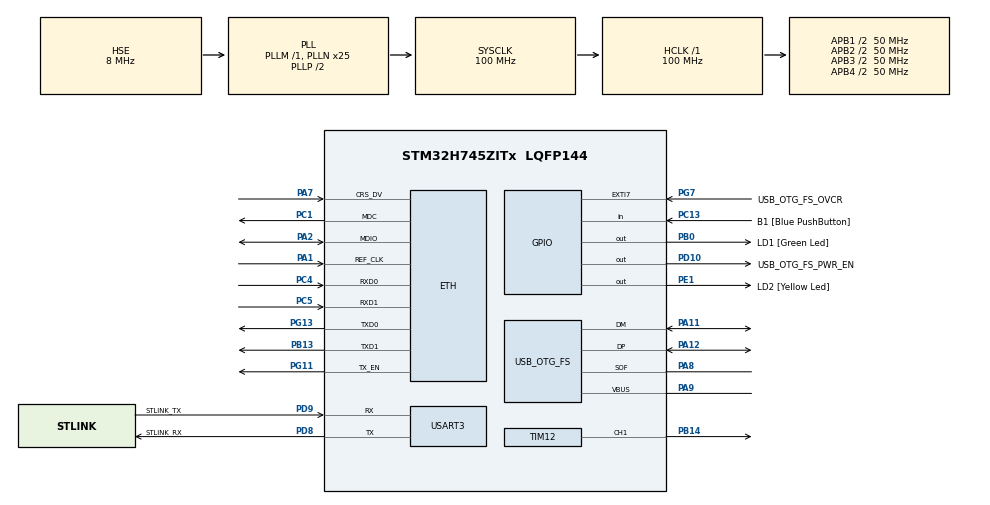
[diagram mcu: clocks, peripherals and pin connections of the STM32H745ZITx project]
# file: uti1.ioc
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CortexM4.IPs=FATFS_M4\:I,FREERTOS_M4\:I,IWDG2\:I,RCC,WWDG2\:I,DMA,BDMA,MDMA,NVIC2\:I,USART3,DEBUG,USB_DEVICE_M4\:I,USB_HOST_M4\:I,PDM2PCM_M4\:I,PWR,RESMGR_UTILITY,SYS_M4\:I,CORTEX_M4\:I,OPENAMP_M4\:I,VREFBUF,GPIO
CortexM7.IPs=FATFS_M7\:I,FREERTOS_M7\:I,IWDG1\:I,RCC\:I,WWDG1\:I,DMA\:I,BDMA\:I,MDMA\:I,NVIC1\:I,SYS\:I,USART3\:I,USB_OTG_FS\:I,CORTEX_M7\:I,DEBUG\:I,USB_DEVICE_M7\:I,USB_HOST_M7\:I,PDM2PCM_M7\:I,PWR\:I,RESMGR_UTILITY\:I,OPENAMP_M7\:I,VREFBUF\:I,GPIO\:I,TIM12\:I,ETH\:I
ETH.MediaInterface=HAL_ETH_RMII_MODE
Mcu.Family=STM32H7
Mcu.Name=STM32H745ZITx
Mcu.Package=LQFP144
NVIC1.PriorityGroup=NVIC_PRIORITYGROUP_4
NVIC2.PriorityGroup=NVIC_PRIORITYGROUP_4
PA1.Mode=RMII
PA1.PinAttribute=CortexM7
PA1.Signal=ETH_REF_CLK
PA11.Mode=Device_Only
PA11.PinAttribute=CortexM7
PA11.Signal=USB_OTG_FS_DM
PA12.Mode=Device_Only
PA12.PinAttribute=CortexM7
PA12.Signal=USB_OTG_FS_DP
PA2.Mode=RMII
PA2.PinAttribute=CortexM7
PA2.Signal=ETH_MDIO
PA7.Mode=RMII
PA7.PinAttribute=CortexM7
PA7.Signal=ETH_CRS_DV
PA8.Mode=Activate_SOF_FS
PA8.PinAttribute=CortexM7
PA8.Signal=USB_OTG_FS_SOF
PA9.Mode=Activate_VBUS
PA9.PinAttribute=CortexM7
PA9.Signal=USB_OTG_FS_VBUS
PB0.GPIO_Label=LD1 [Green Led]
PB0.PinAttribute=Free
PB0.Signal=GPIO_Output
PB13.Mode=RMII
PB13.PinAttribute=CortexM7
PB13.Signal=ETH_TXD1
PB14.PinAttribute=CortexM7
PB14.Signal=S_TIM12_CH1
PC1.Mode=RMII
PC1.PinAttribute=CortexM7
PC1.Signal=ETH_MDC
PC13.GPIO_Label=B1 [Blue PushButton]
PC13.PinAttribute=Free
PC13.Signal=GPIO_Input
PC14-OSC32_IN\ (OSC32_IN).Mode=LSE-External-Oscillator
PC14-OSC32_IN\ (OSC32_IN).PinAttribute=CortexM7
PC14-OSC32_IN\ (OSC32_IN).Signal=RCC_OSC32_IN
PC15-OSC32_OUT\ (OSC32_OUT).Mode=LSE-External-Oscillator
PC15-OSC32_OUT\ (OSC32_OUT).PinAttribute=CortexM7
PC15-OSC32_OUT\ (OSC32_OUT).Signal=RCC_OSC32_OUT
PC4.Mode=RMII
PC4.PinAttribute=CortexM7
PC4.Signal=ETH_RXD0
PC5.Mode=RMII
PC5.PinAttribute=CortexM7
PC5.Signal=ETH_RXD1
PD10.GPIO_Label=USB_OTG_FS_PWR_EN
PD10.PinAttribute=Free
PD10.Signal=GPIO_Output
PD8.GPIO_Label=STLINK_RX
PD8.Mode=Asynchronous
PD8.PinAttribute=CortexM7
PD8.Signal=USART3_TX
PD9.GPIO_Label=STLINK_TX
PD9.Mode=Asynchronous
PD9.PinAttribute=CortexM7
PD9.Signal=USART3_RX
PE1.GPIO_Label=LD2 [Yellow Led]
PE1.GPIO_PuPd=GPIO_NOPULL
PE1.PinAttribute=Free
PE1.Signal=GPIO_Output
PG11.Mode=RMII
PG11.PinAttribute=CortexM7
PG11.Signal=ETH_TX_EN
PG13.Mode=RMII
PG13.PinAttribute=CortexM7
PG13.Signal=ETH_TXD0
PG7.GPIO_Label=USB_OTG_FS_OVCR
PG7.PinAttribute=Free
PG7.Signal=GPXTI7
PH0-OSC_IN\ (PH0).Mode=HSE-External-Oscillator
PH0-OSC_IN\ (PH0).PinAttribute=CortexM7
PH0-OSC_IN\ (PH0).Signal=RCC_OSC_IN
PH1-OSC_OUT\ (PH1).Mode=HSE-External-Oscillator
PH1-OSC_OUT\ (PH1).PinAttribute=CortexM7
PH1-OSC_OUT\ (PH1).Signal=RCC_OSC_OUT
ProjectManager.HeapSize=M4-0x200,M7-0x200
ProjectManager.StackSize=M4-0x400,M7-0x400
ProjectManager.TargetToolchain=STM32CubeIDE
RCC.ADCFreq_Value=16125000
RCC.APB1Freq_Value=50000000
RCC.APB2Freq_Value=50000000
RCC.APB3Freq_Value=50000000
RCC.APB4Freq_Value=50000000
RCC.CortexFreq_Value=100000000
RCC.D1PPRE=RCC_APB3_DIV2
RCC.D2PPRE1=RCC_APB1_DIV2
RCC.D2PPRE2=RCC_APB2_DIV2
RCC.D3PPRE=RCC_APB4_DIV2
RCC.DIVM1=1
RCC.DIVM3=1
RCC.DIVN1=25
RCC.DIVN3=18
RCC.DIVQ3=3
RCC.HCLKFreq_Value=100000000
RCC.HSE_VALUE=8000000
RCC.PLL2FRACN=0
RCC.PLL3FRACN=6144
RCC.PLLFRACN=0
RCC.SYSCLKFreq_VALUE=100000000
RCC.SYSCLKSource=RCC_SYSCLKSOURCE_PLLCLK
RCC.SupplySource=PWR_DIRECT_SMPS_SUPPLY
RCC.USBCLockSelection=RCC_USBCLKSOURCE_PLL3
RCC.USBFreq_Value=50000000
SH.S_TIM12_CH1.0=TIM12_CH1,PWM Generation1 CH1
TIM12.AutoReloadPreload=TIM_AUTORELOAD_PRELOAD_DISABLE
TIM12.Channel-PWM\ Generation1\ CH1=TIM_CHANNEL_1
TIM12.Period=2-1
TIM12.Prescaler=1-1
TIM12.Pulse-PWM\ Generation1\ CH1=1
USART3.VirtualMode-Asynchronous=VM_ASYNC
USB_OTG_FS.VirtualMode=Device_Only
VP_SYS_M4_VS_Systick.Mode=SysTick
board=NUCLEO-H745ZI-Q

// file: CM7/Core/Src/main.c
/* USER CODE BEGIN Header */
/**
  ******************************************************************************
  * @file           : main.c
  * @brief          : Main program body
  ******************************************************************************
  * @attention
  *
  * Copyright (c) 2023 STMicroelectronics.
  * All rights reserved.
  *
  * This software is licensed under terms that can be found in the LICENSE file
  * in the root directory of this software component.
  * If no LICENSE file comes with this software, it is provided AS-IS.
  *
  ******************************************************************************
  */
/* USER CODE END Header */
#include "main.h"
#include "string.h"

/* USER CODE BEGIN Includes */
#include <stdio.h>
/* USER CODE END Includes */

/* USER CODE BEGIN PD */

#ifndef HSEM_ID_0
#define HSEM_ID_0 (0U) /* HW semaphore 0*/
#endif

/* USER CODE END PD */

#if defined ( __ICCARM__ ) /*!< IAR Compiler */
#pragma location=0x30000000
ETH_DMADescTypeDef  DMARxDscrTab[ETH_RX_DESC_CNT]; /* Ethernet Rx DMA Descriptors */
#pragma location=0x30000200
ETH_DMADescTypeDef  DMATxDscrTab[ETH_TX_DESC_CNT]; /* Ethernet Tx DMA Descriptors */

#elif defined ( __CC_ARM )  /* MDK ARM Compiler */

__attribute__((at(0x30000000))) ETH_DMADescTypeDef  DMARxDscrTab[ETH_RX_DESC_CNT]; /* Ethernet Rx DMA Descriptors */
__attribute__((at(0x30000200))) ETH_DMADescTypeDef  DMATxDscrTab[ETH_TX_DESC_CNT]; /* Ethernet Tx DMA Descriptors */

#elif defined ( __GNUC__ ) /* GNU Compiler */
ETH_DMADescTypeDef DMARxDscrTab[ETH_RX_DESC_CNT] __attribute__((section(".RxDecripSection"))); /* Ethernet Rx DMA Descriptors */
ETH_DMADescTypeDef DMATxDscrTab[ETH_TX_DESC_CNT] __attribute__((section(".TxDecripSection")));   /* Ethernet Tx DMA Descriptors */

#endif

ETH_TxPacketConfig TxConfig;

ETH_HandleTypeDef heth;

TIM_HandleTypeDef htim12;

UART_HandleTypeDef huart3;

PCD_HandleTypeDef hpcd_USB_OTG_FS;

void SystemClock_Config(void);
static void MX_GPIO_Init(void);
static void MX_USART3_UART_Init(void);
static void MX_USB_OTG_FS_PCD_Init(void);
static void MX_TIM12_Init(void);
static void MX_ETH_Init(void);

/* USER CODE BEGIN 0 */
volatile uint32_t timeElapsedMs = 0;
void HAL_GPIO_EXTI_Callback(uint16_t GPIO_Pin) {

    if (GPIO_Pin == GPIO_PIN_13) { // Pin PC13 (change to the actual pin)
        // Perform your desired action here upon the rising edge of the clock signal
        // For example, toggle or set/clear the state of another GPIO pin
        HAL_GPIO_TogglePin(GPIOE, GPIO_PIN_1); // Replace with your desired GPIO pin and action
    }
}
/* USER CODE END 0 */

int main(void)
{
  /* USER CODE BEGIN 1 */
	GPIO_Config();
	uint16_t timer_val;
  /* USER CODE END 1 */
/* USER CODE BEGIN Boot_Mode_Sequence_0 */
  //int32_t timeout;
/* USER CODE END Boot_Mode_Sequence_0 */

/* USER CODE BEGIN Boot_Mode_Sequence_1 */
  /* Wait until CPU2 boots and enters in stop mode or timeout*/
//  timeout = 0xFFFF;
//  while((__HAL_RCC_GET_FLAG(RCC_FLAG_D2CKRDY) != RESET) && (timeout-- > 0));
//  if ( timeout < 0 )
//  {
//  Error_Handler();
//  }
/* USER CODE END Boot_Mode_Sequence_1 */
  /* MCU Configuration--------------------------------------------------------*/

  /* Reset of all peripherals, Initializes the Flash interface and the Systick. */
  HAL_Init();

  /* USER CODE BEGIN Init */
  __HAL_RCC_GPIOC_CLK_ENABLE(); // Enable clock for GPIOF
  __HAL_RCC_GPIOE_CLK_ENABLE(); // Enable clock for GPIOF

      GPIO_InitTypeDef GPIO_InitStruct;
      GPIO_InitStruct.Pin = GPIO_PIN_13; // Pin PF6 (change to the actual pin)
      GPIO_InitStruct.Mode = GPIO_MODE_IT_FALLING; // Interrupt on rising edge
      GPIO_InitStruct.Pull = GPIO_NOPULL; // No pull-up/pull-down
      HAL_GPIO_Init(GPIOC, &GPIO_InitStruct);

  	GPIO_InitTypeDef GPIOE_init = {};
  	GPIOE_init.Pin = GPIO_PIN_1;
  	GPIOE_init.Mode = GPIO_MODE_OUTPUT_PP;
  	HAL_GPIO_Init(GPIOE, &GPIOE_init);

      HAL_NVIC_SetPriority(EXTI15_10_IRQn, 0, 0);
      HAL_NVIC_EnableIRQ(EXTI15_10_IRQn);
  /* USER CODE END Init */

  /* Configure the system clock */
  SystemClock_Config();
/* USER CODE BEGIN Boot_Mode_Sequence_2 */
/* When system initialization is finished, Cortex-M7 will release Cortex-M4 by means of
HSEM notification */
/*HW semaphore Clock enable*/
//__HAL_RCC_HSEM_CLK_ENABLE();
///*Take HSEM */
//HAL_HSEM_FastTake(HSEM_ID_0);
///*Release HSEM in order to notify the CPU2(CM4)*/
//HAL_HSEM_Release(HSEM_ID_0,0);
///* wait until CPU2 wakes up from stop mode */
//timeout = 0xFFFF;
//while((__HAL_RCC_GET_FLAG(RCC_FLAG_D2CKRDY) == RESET) && (timeout-- > 0));
//if ( timeout < 0 )
//{
//Error_Handler();
//}
/* USER CODE END Boot_Mode_Sequence_2 */

  /* Initialize all configured peripherals */
  MX_GPIO_Init();
  MX_USART3_UART_Init();
  MX_USB_OTG_FS_PCD_Init();
  MX_TIM12_Init();
  MX_ETH_Init();
  /* USER CODE BEGIN 2 */
  //HAL_TIM_Base_Start_IT(&htim16);
  HAL_TIM_PWM_Start(&htim12, TIM_CHANNEL_1);

  /* USER CODE END 2 */

  /* Infinite loop */
  while (1)
  {

    /* USER CODE BEGIN 3 */
//	  if(HAL_GPIO_ReadPin(GPIOF, GPIO_PIN_6) == GPIO_PIN_SET){
//			printf("time elapsed is: %u, clock is on %u\n", (HAL_GetTick() - timeElapsedMs), HAL_GPIO_ReadPin(GPIOF, GPIO_PIN_6));
//			timeElapsedMs = HAL_GetTick();
//	  }
	  //HAL_Delay(100000);
      // Read the counter value of TIM16
//      uint32_t counterValue = TIM16->CNT;
//      GPIO_PinState P = HAL_GPIO_ReadPin(GPIOF, GPIO_PIN_6);
//
//      // Print the counter value to the console or use it as needed
//      printf("TIM16 Counter Value: %u\n", counterValue);
//
//      // Add a delay if needed between counter readings
//      HAL_Delay(1000); // 1-second delay (adjust as needed)
  }
  /* USER CODE END 3 */
}

void SystemClock_Config(void)
{
  RCC_OscInitTypeDef RCC_OscInitStruct = {0};
  RCC_ClkInitTypeDef RCC_ClkInitStruct = {0};

  /** Supply configuration update enable
  */
  HAL_PWREx_ConfigSupply(PWR_DIRECT_SMPS_SUPPLY);

  /** Configure the main internal regulator output voltage
  */
  __HAL_PWR_VOLTAGESCALING_CONFIG(PWR_REGULATOR_VOLTAGE_SCALE3);

  while(!__HAL_PWR_GET_FLAG(PWR_FLAG_VOSRDY)) {}

  /** Initializes the RCC Oscillators according to the specified parameters
  * in the RCC_OscInitTypeDef structure.
  */
  RCC_OscInitStruct.OscillatorType = RCC_OSCILLATORTYPE_HSE;
  RCC_OscInitStruct.HSEState = RCC_HSE_ON;
  RCC_OscInitStruct.PLL.PLLState = RCC_PLL_ON;
  RCC_OscInitStruct.PLL.PLLSource = RCC_PLLSOURCE_HSE;
  RCC_OscInitStruct.PLL.PLLM = 1;
  RCC_OscInitStruct.PLL.PLLN = 25;
  RCC_OscInitStruct.PLL.PLLP = 2;
  RCC_OscInitStruct.PLL.PLLQ = 2;
  RCC_OscInitStruct.PLL.PLLR = 2;
  RCC_OscInitStruct.PLL.PLLRGE = RCC_PLL1VCIRANGE_3;
  RCC_OscInitStruct.PLL.PLLVCOSEL = RCC_PLL1VCOWIDE;
  RCC_OscInitStruct.PLL.PLLFRACN = 0;
  if (HAL_RCC_OscConfig(&RCC_OscInitStruct) != HAL_OK)
  {
    Error_Handler();
  }

  /** Initializes the CPU, AHB and APB buses clocks
  */
  RCC_ClkInitStruct.ClockType = RCC_CLOCKTYPE_HCLK|RCC_CLOCKTYPE_SYSCLK
                              |RCC_CLOCKTYPE_PCLK1|RCC_CLOCKTYPE_PCLK2
                              |RCC_CLOCKTYPE_D3PCLK1|RCC_CLOCKTYPE_D1PCLK1;
  RCC_ClkInitStruct.SYSCLKSource = RCC_SYSCLKSOURCE_PLLCLK;
  RCC_ClkInitStruct.SYSCLKDivider = RCC_SYSCLK_DIV1;
  RCC_ClkInitStruct.AHBCLKDivider = RCC_HCLK_DIV1;
  RCC_ClkInitStruct.APB3CLKDivider = RCC_APB3_DIV2;
  RCC_ClkInitStruct.APB1CLKDivider = RCC_APB1_DIV2;
  RCC_ClkInitStruct.APB2CLKDivider = RCC_APB2_DIV2;
  RCC_ClkInitStruct.APB4CLKDivider = RCC_APB4_DIV2;

  if (HAL_RCC_ClockConfig(&RCC_ClkInitStruct, FLASH_LATENCY_2) != HAL_OK)
  {
    Error_Handler();
  }
  RCC->AHB1ENR |= (RCC_AHB1ENR_ETH1MACEN_Msk);
}

static void MX_ETH_Init(void)
{

   static uint8_t MACAddr[6];

  heth.Instance = ETH;
  MACAddr[0] = 0x00;
  MACAddr[1] = 0x80;
  MACAddr[2] = 0xE1;
  MACAddr[3] = 0x00;
  MACAddr[4] = 0x00;
  MACAddr[5] = 0x00;
  heth.Init.MACAddr = &MACAddr[0];
  heth.Init.MediaInterface = HAL_ETH_RMII_MODE;
  heth.Init.TxDesc = DMATxDscrTab;
  heth.Init.RxDesc = DMARxDscrTab;
  heth.Init.RxBuffLen = 1524;

  if (HAL_ETH_Init(&heth) != HAL_OK)
  {
    Error_Handler();
  }

  memset(&TxConfig, 0 , sizeof(ETH_TxPacketConfig));
  TxConfig.Attributes = ETH_TX_PACKETS_FEATURES_CSUM | ETH_TX_PACKETS_FEATURES_CRCPAD;
  TxConfig.ChecksumCtrl = ETH_CHECKSUM_IPHDR_PAYLOAD_INSERT_PHDR_CALC;
  TxConfig.CRCPadCtrl = ETH_CRC_PAD_INSERT;

}

static void MX_TIM12_Init(void)
{

  TIM_MasterConfigTypeDef sMasterConfig = {0};
  TIM_OC_InitTypeDef sConfigOC = {0};

  htim12.Instance = TIM12;
  htim12.Init.Prescaler = 1-1;
  htim12.Init.CounterMode = TIM_COUNTERMODE_UP;
  htim12.Init.Period = 2-1;
  htim12.Init.ClockDivision = TIM_CLOCKDIVISION_DIV1;
  htim12.Init.AutoReloadPreload = TIM_AUTORELOAD_PRELOAD_DISABLE;
  if (HAL_TIM_PWM_Init(&htim12) != HAL_OK)
  {
    Error_Handler();
  }
  sMasterConfig.MasterOutputTrigger = TIM_TRGO_RESET;
  sMasterConfig.MasterSlaveMode = TIM_MASTERSLAVEMODE_DISABLE;
  if (HAL_TIMEx_MasterConfigSynchronization(&htim12, &sMasterConfig) != HAL_OK)
  {
    Error_Handler();
  }
  sConfigOC.OCMode = TIM_OCMODE_PWM1;
  sConfigOC.Pulse = 1;
  sConfigOC.OCPolarity = TIM_OCPOLARITY_HIGH;
  sConfigOC.OCFastMode = TIM_OCFAST_DISABLE;
  if (HAL_TIM_PWM_ConfigChannel(&htim12, &sConfigOC, TIM_CHANNEL_1) != HAL_OK)
  {
    Error_Handler();
  }
  HAL_TIM_MspPostInit(&htim12);

}

static void MX_USART3_UART_Init(void)
{

  huart3.Instance = USART3;
  huart3.Init.BaudRate = 115200;
  huart3.Init.WordLength = UART_WORDLENGTH_8B;
  huart3.Init.StopBits = UART_STOPBITS_1;
  huart3.Init.Parity = UART_PARITY_NONE;
  huart3.Init.Mode = UART_MODE_TX_RX;
  huart3.Init.HwFlowCtl = UART_HWCONTROL_NONE;
  huart3.Init.OverSampling = UART_OVERSAMPLING_16;
  huart3.Init.OneBitSampling = UART_ONE_BIT_SAMPLE_DISABLE;
  huart3.Init.ClockPrescaler = UART_PRESCALER_DIV1;
  huart3.AdvancedInit.AdvFeatureInit = UART_ADVFEATURE_NO_INIT;
  if (HAL_UART_Init(&huart3) != HAL_OK)
  {
    Error_Handler();
  }
  if (HAL_UARTEx_SetTxFifoThreshold(&huart3, UART_TXFIFO_THRESHOLD_1_8) != HAL_OK)
  {
    Error_Handler();
  }
  if (HAL_UARTEx_SetRxFifoThreshold(&huart3, UART_RXFIFO_THRESHOLD_1_8) != HAL_OK)
  {
    Error_Handler();
  }
  if (HAL_UARTEx_DisableFifoMode(&huart3) != HAL_OK)
  {
    Error_Handler();
  }

}

static void MX_USB_OTG_FS_PCD_Init(void)
{

  hpcd_USB_OTG_FS.Instance = USB_OTG_FS;
  hpcd_USB_OTG_FS.Init.dev_endpoints = 9;
  hpcd_USB_OTG_FS.Init.speed = PCD_SPEED_FULL;
  hpcd_USB_OTG_FS.Init.dma_enable = DISABLE;
  hpcd_USB_OTG_FS.Init.phy_itface = PCD_PHY_EMBEDDED;
  hpcd_USB_OTG_FS.Init.Sof_enable = DISABLE;
  hpcd_USB_OTG_FS.Init.low_power_enable = DISABLE;
  hpcd_USB_OTG_FS.Init.lpm_enable = DISABLE;
  hpcd_USB_OTG_FS.Init.battery_charging_enable = ENABLE;
  hpcd_USB_OTG_FS.Init.vbus_sensing_enable = ENABLE;
  hpcd_USB_OTG_FS.Init.use_dedicated_ep1 = DISABLE;
  if (HAL_PCD_Init(&hpcd_USB_OTG_FS) != HAL_OK)
  {
    Error_Handler();
  }

}

static void MX_GPIO_Init(void)
{

  /* GPIO Ports Clock Enable */
  __HAL_RCC_GPIOC_CLK_ENABLE();
  __HAL_RCC_GPIOH_CLK_ENABLE();
  __HAL_RCC_GPIOA_CLK_ENABLE();
  __HAL_RCC_GPIOB_CLK_ENABLE();
  __HAL_RCC_GPIOD_CLK_ENABLE();
  __HAL_RCC_GPIOG_CLK_ENABLE();

}

/* USER CODE BEGIN 4 */
int _write(int file, char *ptr, int len){
	int var;
	for (var = 0; var < len; ++var) {
		ITM_SendChar(*ptr++);
	}
	return len;
}

void EXTI15_10_IRQHandler(void) {
    HAL_GPIO_EXTI_IRQHandler(GPIO_PIN_13); // Call the HAL handler
}

//void HAL_TIM_PWM_PulseFinishedCallback(TIM_HandleTypeDef *htim){
////	printf("time elapsed is: %u, clock is on %u\n", (HAL_GetTick() - timeElapsedMs), HAL_GPIO_ReadPin(GPIOF, GPIO_PIN_6));
////	timeElapsedMs = HAL_GetTick();
//	if(htim == &htim16){
//		HAL_GPIO_TogglePin(GPIOB, GPIO_PIN_0);
////		printf("time elapsed is: %u, clock is on %u\n", (HAL_GetTick() - timeElapsedMs), HAL_GPIO_ReadPin(GPIOF, GPIO_PIN_6));
////		timeElapsedMs = HAL_GetTick();
//	}
//}

void GPIO_Config(void){
	__HAL_RCC_GPIOB_CLK_ENABLE();
	__HAL_RCC_GPIOE_CLK_ENABLE();
	//__HAL_RCC_GPIOC_CLK_ENABLE();

	GPIO_InitTypeDef GPIOB_init = {};
	GPIOB_init.Pin = GPIO_PIN_0;
	GPIOB_init.Mode = GPIO_MODE_OUTPUT_PP;
	HAL_GPIO_Init(GPIOB, &GPIOB_init);

	GPIO_InitTypeDef GPIOE_init = {};
		GPIOB_init.Pin = GPIO_PIN_1;
		GPIOB_init.Mode = GPIO_MODE_OUTPUT_PP;
		HAL_GPIO_Init(GPIOE, &GPIOE_init);

}
/* USER CODE END 4 */

void Error_Handler(void)
{
  __disable_irq();
  while (1)
  {
  }
}
